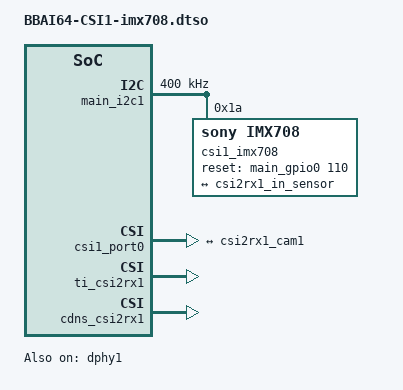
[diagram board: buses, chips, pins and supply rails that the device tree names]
// SPDX-License-Identifier: GPL-2.0-only
/*
 * DT Overlay for Sony IMX708 Camera interfaced with CSI1 on BBAI64 board.
 * Based on BBAI64-CSI0-imx219.dtso
 */

/dts-v1/;
/plugin/;

#include <dt-bindings/gpio/gpio.h>
#include <dt-bindings/interrupt-controller/irq.h>
#include <dt-bindings/pinctrl/k3-pinctrl.h>

/* CSI1 */
/* V25_CSI1_GPIO1 */
/* W24_CSI1_GPIO2 */
/* Y6_I2C1_SCL */
/* AA6_I2C1_SDA */

/*
 * Helper to show loaded overlays under: /proc/device-tree/chosen/overlays/
 */
&{/chosen} {
    overlays {
        k3-j721e-beagleboneai64-csi1-imx708.kernel = __TIMESTAMP__;
    };
};

/ {
    fragment@101 {
        target-path = "/";

        __overlay__ {
            clk_csi1_imx708_fixed: csi1-imx708-xclk {
                compatible = "fixed-clock";
                #clock-cells = <0>;
                clock-frequency = <24000000>;
            };
        };
    };
};

&main_pmx0 {
    main_i2c1_pins_default: main-i2c1-pins-default {
        pinctrl-single,pins = <
            J721E_IOPAD(0x208, PIN_INPUT_PULLUP, 0) /* (Y6) I2C1_SCL */
            J721E_IOPAD(0x20c, PIN_INPUT_PULLUP, 0) /* (AA6) I2C1_SDA */
        >;
    };

    csi1_imx708_gpio_pins: csi1-imx708-gpio-pins {
        pinctrl-single,pins = <
            J721E_IOPAD(0x1bc, PIN_OUTPUT, 7) /* (V25) MDIO0_MDIO.GPIO0_110 */
            //J721E_IOPAD(0x1c0, PIN_OUTPUT, 7) /* (W24) MDIO0_MDC.GPIO0_111 */
        >;
    };
};

&main_i2c1 {
    pinctrl-names = "default";
    pinctrl-0 = <&main_i2c1_pins_default>;
    clock-frequency = <400000>;
    status = "okay";

    #address-cells = <1>;
    #size-cells = <0>;

    csi1_imx708: csi1_sensor@1a {
        status = "okay";
        compatible = "sony,imx708";
        reg = <0x1a>;

        clocks = <&clk_csi1_imx708_fixed>;
        clock-names = "xclk";

        pinctrl-names = "default";
        pinctrl-0 = <&csi1_imx708_gpio_pins>;
        reset-gpios = <&main_gpio0 110 GPIO_ACTIVE_HIGH>;

        port {
            csi2rx1_cam1: endpoint {
                remote-endpoint = <&csi2rx1_in_sensor>;
                link-frequencies = /bits/ 64 <450000000>;
                clock-lanes = <0>;
                data-lanes = <1 2>;
            };
        };
    };
};

&csi1_port0 {
    status = "okay";

    csi2rx1_in_sensor: endpoint {
        remote-endpoint = <&csi2rx1_cam1>;
        bus-type = <4>; /* CSI2 DPHY. */
        clock-lanes = <0>;
        data-lanes = <1 2>;
    };
};

&ti_csi2rx1 {
    status = "okay";
};

&cdns_csi2rx1 {
    status = "okay";
};

&dphy1 {
    status = "okay";
};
